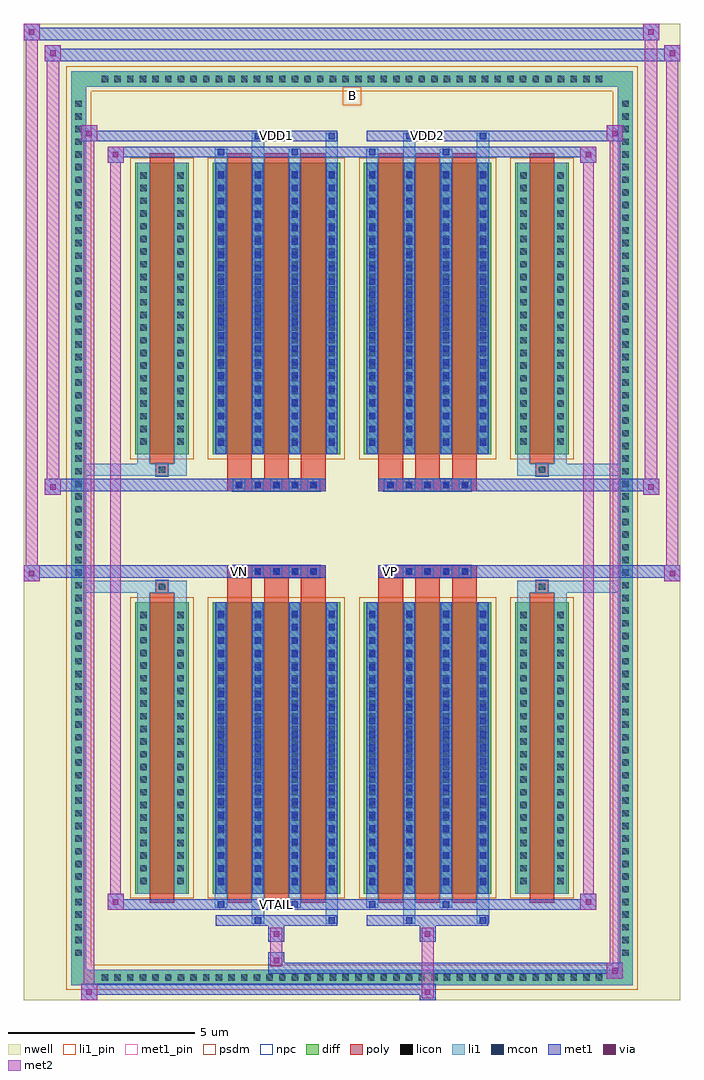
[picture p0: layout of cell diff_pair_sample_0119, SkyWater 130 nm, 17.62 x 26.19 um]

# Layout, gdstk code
import gdstk
lib = gdstk.Library(unit=1e-6, precision=5e-09)
def R(c, l, rs):  # rectangles x0, y0, x1, y1
    for r in rs: c.add(gdstk.rectangle(r[:2], r[2:], *l))
def A(c, l, x, y, w, h, nx, ny, dx, dy):  # array of equal rectangles
    R(c, l, [(x+i*dx, y+j*dy, x+i*dx+w, y+j*dy+h) for i in range(nx) for j in range(ny)])
def P(c, l, *ps):  # polygons
    for p in ps: c.add(gdstk.Polygon(p, *l))
nwell = (64, 20)
diff = (65, 20)
poly = (66, 20)
licon = (66, 44)
li1_pin = (67, 16)
li1 = (67, 20)
mcon = (67, 44)
met1_pin = (68, 16)
met1 = (68, 20)
via = (68, 44)
met2 = (69, 20)
psdm = (94, 20)
npc = (95, 20)

diff_pair_sample_0119 = lib.new_cell('diff_pair_sample_0119')
R(diff_pair_sample_0119, nwell, [(-8.81,-12.66,8.81,13.53), (-6.13,-10.85,-0.01,-0.795), (0.01,-10.85,6.13,-0.795), (-6.13,0.795,-0.01,10.85), (0.01,0.795,6.13,10.85)])
A(diff_pair_sample_0119, diff, -6.835, -12.26, 0.41, 0.41, 40, 2, 0.34, 24.11)
A(diff_pair_sample_0119, diff, -7.54, -11.595, 0.41, 0.41, 1, 68, 0, 0.34)
A(diff_pair_sample_0119, diff, 7.13, -11.595, 0.41, 0.41, 1, 68, 0, 0.34)
R(diff_pair_sample_0119, diff, [(-6.835,-12.26,6.835,-11.85), (-7.54,-11.595,-7.13,11.595), (7.13,-11.595,7.54,11.595), (-5.82,-9.805,-4.38,-1.985), (-3.74,-9.805,-0.32,-1.985), (0.32,-9.805,3.74,-1.985), (4.38,-9.805,5.82,-1.985), (-5.82,1.985,-4.38,9.805), (-3.74,1.985,-0.32,9.805), (0.32,1.985,3.74,9.805), (4.38,1.985,5.82,9.805), (-6.835,11.85,6.835,12.26)])
P(diff_pair_sample_0119, diff, [(7.54,12.26),(-7.54,12.26),(-7.54,-11.85),(-7.13,-11.85),(-7.13,11.85),(7.13,11.85),(7.13,-11.85),(-7.13,-11.85),(-7.54,-11.85),(-7.54,-12.26),(7.54,-12.26)])
A(diff_pair_sample_0119, poly, -3.35, -10.055, 0.66, 8.32, 3, 2, 0.99, 11.79)
A(diff_pair_sample_0119, poly, 0.71, -10.055, 0.66, 8.32, 3, 2, 0.99, 11.79)
A(diff_pair_sample_0119, poly, -3.35, -1.735, 0.66, 0.41, 3, 2, 0.99, 3.06)
A(diff_pair_sample_0119, poly, 0.71, -1.735, 0.66, 0.41, 3, 2, 0.99, 3.06)
A(diff_pair_sample_0119, poly, -3.195, -1.325, 0.33, 0.33, 5, 2, 0.5, 2.32)
A(diff_pair_sample_0119, poly, 0.865, -1.325, 0.33, 0.33, 5, 2, 0.5, 2.32)
R(diff_pair_sample_0119, poly, [(-5.43,-10.055,-4.77,-1.735), (4.77,-10.055,5.43,-1.735), (-5.265,-1.735,-4.935,-1.405), (-5.265,-1.735,-4.935,-1.405), (4.935,-1.735,5.265,-1.405), (4.935,-1.735,5.265,-1.405), (-3.35,-1.325,-0.71,-0.995), (0.71,-1.325,3.35,-0.995), (-3.35,0.995,-0.71,1.325), (0.71,0.995,3.35,1.325), (-5.265,1.405,-4.935,1.735), (-5.265,1.405,-4.935,1.735), (4.935,1.405,5.265,1.735), (4.935,1.405,5.265,1.735), (-5.43,1.735,-4.77,10.055), (4.77,1.735,5.43,10.055)])
A(diff_pair_sample_0119, licon, -6.715, -12.14, 0.17, 0.17, 40, 2, 0.34, 24.11)
A(diff_pair_sample_0119, licon, -7.42, -11.475, 0.17, 0.17, 1, 68, 0, 0.34)
A(diff_pair_sample_0119, licon, 7.25, -11.475, 0.17, 0.17, 1, 68, 0, 0.34)
A(diff_pair_sample_0119, licon, -5.68, -9.55, 0.17, 0.17, 1, 22, 0, 0.34)
A(diff_pair_sample_0119, licon, -4.69, -9.55, 0.17, 0.17, 1, 22, 0, 0.34)
A(diff_pair_sample_0119, licon, -3.6, -9.55, 0.17, 0.17, 4, 22, 0.99, 0.34)
A(diff_pair_sample_0119, licon, 0.46, -9.55, 0.17, 0.17, 4, 22, 0.99, 0.34)
A(diff_pair_sample_0119, licon, 4.52, -9.55, 0.17, 0.17, 1, 22, 0, 0.34)
A(diff_pair_sample_0119, licon, 5.51, -9.55, 0.17, 0.17, 1, 22, 0, 0.34)
A(diff_pair_sample_0119, licon, -3.115, -1.245, 0.17, 0.17, 5, 2, 0.5, 2.32)
A(diff_pair_sample_0119, licon, 0.945, -1.245, 0.17, 0.17, 5, 2, 0.5, 2.32)
A(diff_pair_sample_0119, licon, -5.68, 2.24, 0.17, 0.17, 1, 22, 0, 0.34)
A(diff_pair_sample_0119, licon, -4.69, 2.24, 0.17, 0.17, 1, 22, 0, 0.34)
A(diff_pair_sample_0119, licon, -3.6, 2.24, 0.17, 0.17, 4, 22, 0.99, 0.34)
A(diff_pair_sample_0119, licon, 0.46, 2.24, 0.17, 0.17, 4, 22, 0.99, 0.34)
A(diff_pair_sample_0119, licon, 4.52, 2.24, 0.17, 0.17, 1, 22, 0, 0.34)
A(diff_pair_sample_0119, licon, 5.51, 2.24, 0.17, 0.17, 1, 22, 0, 0.34)
R(diff_pair_sample_0119, licon, [(-5.185,-1.655,-5.015,-1.485), (5.015,-1.655,5.185,-1.485), (-5.185,1.485,-5.015,1.655), (5.015,1.485,5.185,1.655)])
R(diff_pair_sample_0119, li1_pin, [(-0.25,11.35,0.25,11.85)])
A(diff_pair_sample_0119, li1, -6.795, -12.22, 0.33, 0.33, 40, 2, 0.34, 24.11)
A(diff_pair_sample_0119, li1, -7.5, -11.555, 0.33, 0.33, 1, 68, 0, 0.34)
A(diff_pair_sample_0119, li1, 7.17, -11.555, 0.33, 0.33, 1, 68, 0, 0.34)
A(diff_pair_sample_0119, li1, -3.68, -9.805, 0.33, 7.82, 4, 2, 0.99, 11.79)
A(diff_pair_sample_0119, li1, 0.38, -9.805, 0.33, 7.82, 4, 2, 0.99, 11.79)
A(diff_pair_sample_0119, li1, -5.76, -9.63, 0.33, 0.33, 1, 22, 0, 0.34)
A(diff_pair_sample_0119, li1, -4.77, -9.63, 0.33, 0.33, 1, 22, 0, 0.34)
A(diff_pair_sample_0119, li1, -3.68, -9.63, 0.33, 0.33, 4, 22, 0.99, 0.34)
A(diff_pair_sample_0119, li1, 0.38, -9.63, 0.33, 0.33, 4, 22, 0.99, 0.34)
A(diff_pair_sample_0119, li1, 4.44, -9.63, 0.33, 0.33, 1, 22, 0, 0.34)
A(diff_pair_sample_0119, li1, 5.43, -9.63, 0.33, 0.33, 1, 22, 0, 0.34)
A(diff_pair_sample_0119, li1, -3.6, -9.58, 0.17, 0.17, 4, 21, 0.99, 0.36)
A(diff_pair_sample_0119, li1, -3.6, -9.58, 0.17, 7.37, 4, 2, 0.99, 11.79)
A(diff_pair_sample_0119, li1, 0.46, -9.58, 0.17, 0.17, 4, 21, 0.99, 0.36)
A(diff_pair_sample_0119, li1, 0.46, -9.58, 0.17, 7.37, 4, 2, 0.99, 11.79)
A(diff_pair_sample_0119, li1, -3.195, -1.325, 0.33, 0.33, 5, 2, 0.5, 2.32)
A(diff_pair_sample_0119, li1, 0.865, -1.325, 0.33, 0.33, 5, 2, 0.5, 2.32)
A(diff_pair_sample_0119, li1, -5.76, 2.16, 0.33, 0.33, 1, 22, 0, 0.34)
A(diff_pair_sample_0119, li1, -4.77, 2.16, 0.33, 0.33, 1, 22, 0, 0.34)
A(diff_pair_sample_0119, li1, -3.68, 2.16, 0.33, 0.33, 4, 22, 0.99, 0.34)
A(diff_pair_sample_0119, li1, 0.38, 2.16, 0.33, 0.33, 4, 22, 0.99, 0.34)
A(diff_pair_sample_0119, li1, 4.44, 2.16, 0.33, 0.33, 1, 22, 0, 0.34)
A(diff_pair_sample_0119, li1, 5.43, 2.16, 0.33, 0.33, 1, 22, 0, 0.34)
A(diff_pair_sample_0119, li1, -3.6, 2.21, 0.17, 0.17, 4, 21, 0.99, 0.36)
A(diff_pair_sample_0119, li1, 0.46, 2.21, 0.17, 0.17, 4, 21, 0.99, 0.36)
R(diff_pair_sample_0119, li1, [(-7.54,-12.26,-7.13,-11.85), (-7.54,-12.26,-7.13,-11.85), (-7.13,-12.26,7.13,-11.85), (7.13,-12.26,7.54,-11.85), (7.13,-12.26,7.54,-11.85), (-7.54,-11.85,-7.13,11.85), (7.13,-11.85,7.54,11.85), (-2.69,-10.61,-2.36,-9.805), (-2.61,-10.61,-2.44,-10.44), (-0.71,-10.61,-0.38,-9.805), (-0.63,-10.61,-0.46,-10.44), (1.37,-10.61,1.7,-9.805), (1.45,-10.61,1.62,-10.44), (3.35,-10.61,3.68,-9.805), (3.43,-10.61,3.6,-10.44), (-3.68,-10.18,-3.35,-9.805), (-3.6,-10.18,-3.43,-10.01), (-1.7,-10.18,-1.37,-9.805), (-1.62,-10.18,-1.45,-10.01), (0.38,-10.18,0.71,-9.805), (0.46,-10.18,0.63,-10.01), (2.36,-10.18,2.69,-9.805), (2.44,-10.18,2.61,-10.01), (-5.76,-9.805,-5.43,-1.985), (-4.77,-9.805,-4.44,-1.985), (4.44,-9.805,4.77,-1.985), (5.43,-9.805,5.76,-1.985), (-5.76,-1.985,-5.43,-1.405), (-4.77,-1.985,-4.44,-1.405), (4.44,-1.985,4.77,-1.405), (5.43,-1.985,5.76,-1.405), (-7.54,-1.735,-5.265,-1.405), (-5.76,-1.735,-5.265,-1.405), (-5.265,-1.735,-4.935,-1.405), (-4.935,-1.735,-4.44,-1.405), (4.44,-1.735,4.935,-1.405), (4.935,-1.735,5.265,-1.405), (4.935,-1.735,7.54,-1.405), (5.265,-1.735,5.76,-1.405), (-7.54,1.405,-5.265,1.735), (-5.76,1.405,-5.265,1.735), (-5.76,1.405,-5.43,1.985), (-5.265,1.405,-4.935,1.735), (-4.935,1.405,-4.44,1.735), (-4.77,1.405,-4.44,1.985), (4.44,1.405,4.935,1.735), (4.44,1.405,4.77,1.985), (4.935,1.405,5.265,1.735), (4.935,1.405,7.54,1.735), (5.265,1.405,5.76,1.735), (5.43,1.405,5.76,1.985), (-5.76,1.985,-5.43,9.805), (-4.77,1.985,-4.44,9.805), (4.44,1.985,4.77,9.805), (5.43,1.985,5.76,9.805), (-3.68,9.805,-3.35,10.18), (-2.69,9.805,-2.36,10.61), (-1.7,9.805,-1.37,10.18), (-0.71,9.805,-0.38,10.61), (0.38,9.805,0.71,10.18), (1.37,9.805,1.7,10.61), (2.36,9.805,2.69,10.18), (3.35,9.805,3.68,10.61), (-3.6,10.01,-3.43,10.18), (-1.62,10.01,-1.45,10.18), (0.46,10.01,0.63,10.18), (2.44,10.01,2.61,10.18), (-2.61,10.44,-2.44,10.61), (-0.63,10.44,-0.46,10.61), (1.45,10.44,1.62,10.61), (3.43,10.44,3.6,10.61), (-7.54,11.85,-7.13,12.26), (-7.54,11.85,-7.13,12.26), (-7.13,11.85,7.13,12.26), (7.13,11.85,7.54,12.26), (7.13,11.85,7.54,12.26)])
A(diff_pair_sample_0119, mcon, -3.6, -9.58, 0.17, 0.17, 4, 21, 0.99, 0.36)
A(diff_pair_sample_0119, mcon, 0.46, -9.58, 0.17, 0.17, 4, 21, 0.99, 0.36)
A(diff_pair_sample_0119, mcon, -3.115, -1.245, 0.17, 0.17, 5, 2, 0.5, 2.32)
A(diff_pair_sample_0119, mcon, 0.945, -1.245, 0.17, 0.17, 5, 2, 0.5, 2.32)
A(diff_pair_sample_0119, mcon, -3.6, 2.21, 0.17, 0.17, 4, 21, 0.99, 0.36)
A(diff_pair_sample_0119, mcon, 0.46, 2.21, 0.17, 0.17, 4, 21, 0.99, 0.36)
R(diff_pair_sample_0119, mcon, [(-2.61,-10.61,-2.44,-10.44), (-0.63,-10.61,-0.46,-10.44), (1.45,-10.61,1.62,-10.44), (3.43,-10.61,3.6,-10.44), (-3.6,-10.18,-3.43,-10.01), (-1.62,-10.18,-1.45,-10.01), (0.46,-10.18,0.63,-10.01), (2.44,-10.18,2.61,-10.01), (-3.6,10.01,-3.43,10.18), (-1.62,10.01,-1.45,10.18), (0.46,10.01,0.63,10.18), (2.44,10.01,2.61,10.18), (-2.61,10.44,-2.44,10.61), (-0.63,10.44,-0.46,10.61), (1.45,10.44,1.62,10.61), (3.43,10.44,3.6,10.61)])
R(diff_pair_sample_0119, met1_pin, [(-2.165,-10.22,-1.895,-9.95), (-3.165,-1.285,-2.895,-1.015), (0.895,-1.285,1.165,-1.015), (-2.165,10.4,-1.895,10.67), (1.895,10.4,2.165,10.67)])
A(diff_pair_sample_0119, met1, -3.66, -9.805, 0.29, 7.82, 4, 2, 0.99, 11.79)
A(diff_pair_sample_0119, met1, 0.4, -9.805, 0.29, 7.82, 4, 2, 0.99, 11.79)
A(diff_pair_sample_0119, met1, -3.66, -9.64, 0.29, 0.29, 4, 21, 0.99, 0.36)
A(diff_pair_sample_0119, met1, 0.4, -9.64, 0.29, 0.29, 4, 21, 0.99, 0.36)
A(diff_pair_sample_0119, met1, -3.175, -1.305, 0.29, 0.29, 5, 2, 0.5, 2.32)
A(diff_pair_sample_0119, met1, 0.885, -1.305, 0.29, 0.29, 5, 2, 0.5, 2.32)
A(diff_pair_sample_0119, met1, -3.66, 2.15, 0.29, 0.29, 4, 21, 0.99, 0.36)
A(diff_pair_sample_0119, met1, 0.4, 2.15, 0.29, 0.29, 4, 21, 0.99, 0.36)
R(diff_pair_sample_0119, met1, [(-7.27,-12.66,-6.84,-12.23), (1.815,-12.66,2.245,-12.23), (-7.27,-12.52,2.245,-12.23), (6.84,-12.09,7.27,-11.66), (-2.245,-11.95,7.27,-11.66), (-2.245,-11.81,-1.815,-11.38), (-2.245,-11.1,-1.815,-10.67), (1.815,-11.1,2.245,-10.67), (-3.66,-10.67,-0.4,-10.38), (-2.67,-10.67,-2.38,-10.38), (-0.69,-10.67,-0.4,-10.38), (0.4,-10.67,3.66,-10.38), (1.39,-10.67,1.68,-10.38), (3.37,-10.67,3.66,-10.38), (-6.56,-10.24,-6.13,-9.81), (-6.56,-10.24,-3.66,-9.95), (-3.66,-10.24,-3.37,-9.95), (-3.66,-10.24,-0.4,-9.95), (-1.68,-10.24,-1.39,-9.95), (-0.4,-10.24,0.4,-9.95), (0.4,-10.24,0.69,-9.95), (0.4,-10.24,3.66,-9.95), (2.38,-10.24,2.67,-9.95), (3.66,-10.24,6.56,-9.95), (6.13,-10.24,6.56,-9.81), (-8.81,-1.425,-8.38,-0.995), (8.38,-1.425,8.81,-0.995), (-8.81,-1.325,-0.71,-0.995), (-3.35,-1.325,-0.71,-0.995), (0.71,-1.325,3.35,-0.995), (0.71,-1.325,8.81,-0.995), (-8.24,0.895,-7.81,1.325), (7.81,0.895,8.24,1.325), (-8.24,0.995,-3.35,1.325), (-3.35,0.995,-0.71,1.325), (0.71,0.995,3.35,1.325), (3.35,0.995,8.24,1.325), (-6.56,9.81,-6.13,10.24), (6.13,9.81,6.56,10.24), (-6.56,9.95,-3.66,10.24), (-3.66,9.95,-3.37,10.24), (-3.66,9.95,-0.4,10.24), (-1.68,9.95,-1.39,10.24), (-0.4,9.95,0.4,10.24), (0.4,9.95,0.69,10.24), (0.4,9.95,3.66,10.24), (2.38,9.95,2.67,10.24), (3.66,9.95,6.56,10.24), (-7.27,10.38,-6.84,10.81), (-7.27,10.38,-3.66,10.67), (-3.66,10.38,-0.4,10.67), (-2.67,10.38,-2.38,10.67), (-0.69,10.38,-0.4,10.67), (0.4,10.38,3.66,10.67), (1.39,10.38,1.68,10.67), (3.37,10.38,3.66,10.67), (3.66,10.38,7.27,10.67), (6.84,10.38,7.27,10.81), (-8.24,12.53,-7.81,12.96), (-8.24,12.53,-6.13,12.86), (-6.13,12.53,6.13,12.86), (6.13,12.53,8.81,12.86), (8.38,12.53,8.81,12.96), (-8.81,13.1,-8.38,13.53), (-8.81,13.1,-6.13,13.43), (-6.13,13.1,6.13,13.43), (6.13,13.1,8.24,13.43), (7.81,13.1,8.24,13.53)])
R(diff_pair_sample_0119, via, [(-7.13,-12.52,-6.98,-12.37), (1.955,-12.52,2.105,-12.37), (6.98,-11.95,7.13,-11.8), (-2.105,-11.67,-1.955,-11.52), (-2.105,-10.96,-1.955,-10.81), (1.955,-10.96,2.105,-10.81), (-6.42,-10.1,-6.27,-9.95), (6.27,-10.1,6.42,-9.95), (-8.67,-1.285,-8.52,-1.135), (8.52,-1.285,8.67,-1.135), (-8.1,1.035,-7.95,1.185), (7.95,1.035,8.1,1.185), (-6.42,9.95,-6.27,10.1), (6.27,9.95,6.42,10.1), (-7.13,10.52,-6.98,10.67), (6.98,10.52,7.13,10.67), (-8.1,12.67,-7.95,12.82), (8.52,12.67,8.67,12.82), (-8.67,13.24,-8.52,13.39), (7.95,13.24,8.1,13.39)])
R(diff_pair_sample_0119, met2, [(-7.27,-12.66,-6.84,-12.23), (-7.2,-12.66,-6.91,10.81), (-6.91,-12.66,-6.84,-12.23), (-7.22,-12.61,-6.89,-12.28), (1.865,-12.61,2.195,-12.28), (1.865,-12.28,2.195,-11.05), (6.84,-12.09,7.27,-11.66), (6.91,-12.09,7.2,10.81), (7.2,-12.09,7.27,-11.66), (6.89,-12.04,7.22,-11.71), (-2.195,-11.76,-1.865,-11.43), (-2.195,-11.43,-1.865,-11.05), (-2.195,-11.05,-1.865,-10.72), (1.865,-11.05,2.195,-10.72), (-6.56,-10.24,-6.13,-9.81), (-6.49,-10.24,-6.2,10.24), (-6.2,-10.24,-6.13,-9.81), (6.13,-10.24,6.56,-9.81), (6.2,-10.24,6.49,10.24), (6.49,-10.24,6.56,-9.81), (-6.51,-10.19,-6.18,-9.86), (6.18,-10.19,6.51,-9.86), (-8.81,-1.425,-8.38,-0.995), (-8.76,-1.425,-8.43,13.53), (-8.43,-1.425,-8.38,-0.995), (8.38,-1.425,8.81,-0.995), (8.43,-1.425,8.76,12.96), (8.76,-1.425,8.81,-0.995), (-8.76,-1.375,-8.43,-1.045), (8.43,-1.375,8.76,-1.045), (-8.24,0.895,-7.81,1.325), (-8.19,0.895,-7.86,12.96), (-7.86,0.895,-7.81,1.325), (7.81,0.895,8.24,1.325), (7.86,0.895,8.19,13.53), (8.19,0.895,8.24,1.325), (-8.19,0.945,-7.86,1.275), (7.86,0.945,8.19,1.275), (-6.56,9.81,-6.13,10.24), (-6.2,9.81,-6.13,10.24), (6.13,9.81,6.56,10.24), (6.49,9.81,6.56,10.24), (-6.51,9.86,-6.18,10.19), (6.18,9.86,6.51,10.19), (-7.27,10.38,-6.84,10.81), (-6.91,10.38,-6.84,10.81), (6.84,10.38,7.27,10.81), (7.2,10.38,7.27,10.81), (-7.22,10.43,-6.89,10.76), (6.89,10.43,7.22,10.76), (-8.24,12.53,-7.81,12.96), (-7.86,12.53,-7.81,12.96), (8.38,12.53,8.81,12.96), (8.76,12.53,8.81,12.96), (-8.19,12.58,-7.86,12.91), (8.43,12.58,8.76,12.91), (-8.81,13.1,-8.38,13.53), (-8.43,13.1,-8.38,13.53), (7.81,13.1,8.24,13.53), (8.19,13.1,8.24,13.53), (-8.76,13.15,-8.43,13.48), (7.86,13.15,8.19,13.48)])
R(diff_pair_sample_0119, psdm, [(-5.95,-9.935,-4.25,-1.855), (-3.87,-9.935,-0.19,-1.855), (0.19,-9.935,3.87,-1.855), (4.25,-9.935,5.95,-1.855), (-5.95,1.855,-4.25,9.935), (-3.87,1.855,-0.19,9.935), (0.19,1.855,3.87,9.935), (4.25,1.855,5.95,9.935)])
P(diff_pair_sample_0119, psdm, [(7.67,12.39),(-7.67,12.39),(-7.67,-11.72),(-7,-11.72),(-7,11.72),(7,11.72),(7,-11.72),(-7,-11.72),(-7.67,-11.72),(-7.67,-12.39),(7.67,-12.39)])
A(diff_pair_sample_0119, npc, -3.215, -1.345, 0.37, 0.37, 5, 2, 0.5, 2.32)
A(diff_pair_sample_0119, npc, 0.845, -1.345, 0.37, 0.37, 5, 2, 0.5, 2.32)
R(diff_pair_sample_0119, npc, [(-5.285,-1.755,-4.915,-1.385), (4.915,-1.755,5.285,-1.385), (-3.215,-1.345,-2.345,-0.975), (-3.215,-1.345,-2.345,-0.975), (-2.715,-1.345,-1.845,-0.975), (-2.715,-1.345,-1.845,-0.975), (-2.215,-1.345,-1.345,-0.975), (-2.215,-1.345,-1.345,-0.975), (-1.715,-1.345,-0.845,-0.975), (-1.715,-1.345,-0.845,-0.975), (0.845,-1.345,1.715,-0.975), (0.845,-1.345,1.715,-0.975), (1.345,-1.345,2.215,-0.975), (1.345,-1.345,2.215,-0.975), (1.845,-1.345,2.715,-0.975), (1.845,-1.345,2.715,-0.975), (2.345,-1.345,3.215,-0.975), (2.345,-1.345,3.215,-0.975), (-3.215,0.975,-2.345,1.345), (-3.215,0.975,-2.345,1.345), (-2.715,0.975,-1.845,1.345), (-2.715,0.975,-1.845,1.345), (-2.215,0.975,-1.345,1.345), (-2.215,0.975,-1.345,1.345), (-1.715,0.975,-0.845,1.345), (-1.715,0.975,-0.845,1.345), (0.845,0.975,1.715,1.345), (0.845,0.975,1.715,1.345), (1.345,0.975,2.215,1.345), (1.345,0.975,2.215,1.345), (1.845,0.975,2.715,1.345), (1.845,0.975,2.715,1.345), (2.345,0.975,3.215,1.345), (2.345,0.975,3.215,1.345), (-5.285,1.385,-4.915,1.755), (4.915,1.385,5.285,1.755)])
diff_pair_sample_0119.add(gdstk.Label('VTAIL', (-2.03,-10.085), layer=68, texttype=5))
diff_pair_sample_0119.add(gdstk.Label('VN', (-3.03,-1.15), layer=68, texttype=5))
diff_pair_sample_0119.add(gdstk.Label('VP', (1.03,-1.15), layer=68, texttype=5))
diff_pair_sample_0119.add(gdstk.Label('B', (0,11.6), layer=67, texttype=5))
diff_pair_sample_0119.add(gdstk.Label('VDD2', (2.03,10.535), layer=68, texttype=5))
diff_pair_sample_0119.add(gdstk.Label('VDD1', (-2.03,10.535), layer=68, texttype=5))

lib.write_gds('diff_pair_sample_0119.gds')
